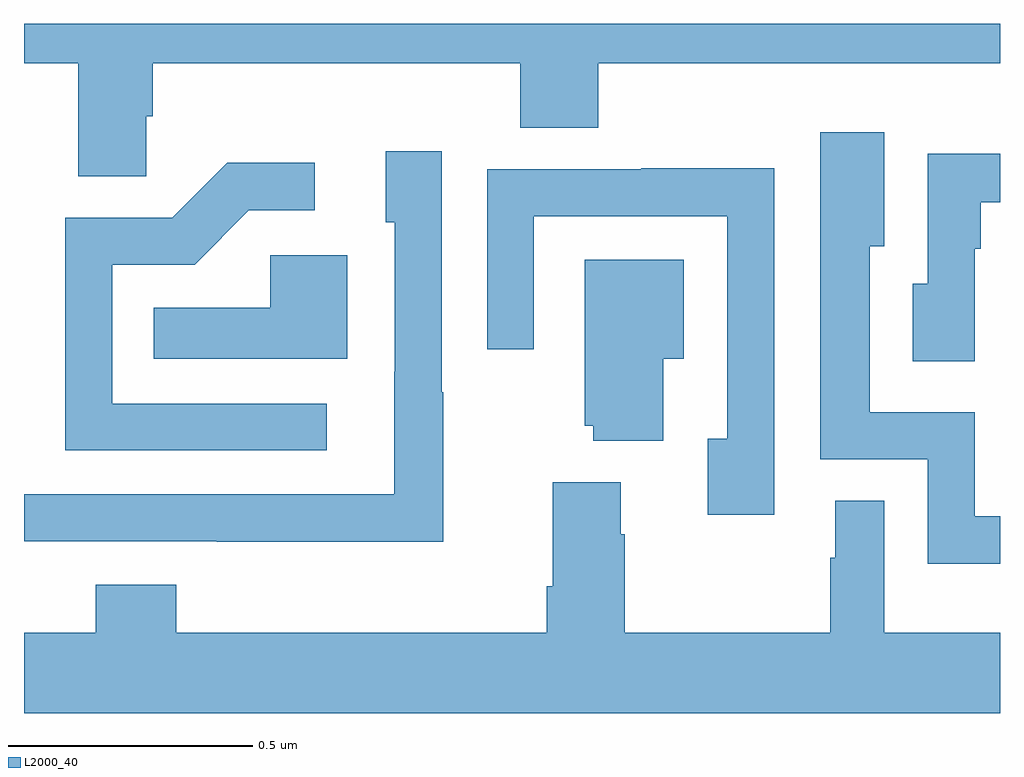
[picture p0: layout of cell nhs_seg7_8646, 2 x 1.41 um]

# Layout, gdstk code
import gdstk
lib = gdstk.Library(unit=1e-6, precision=1e-09)
def P(c, l, *ps):  # polygons
    for p in ps: c.add(gdstk.Polygon(p, *l))
L2000_40 = (2000, 40)

nhs_seg7_8646 = lib.new_cell('nhs_seg7_8646')
P(nhs_seg7_8646, L2000_40, [(227.25,1029.811),(227.264,1029.811),(227.264,1029.92),(228.017,1029.92),(228.017,1029.787),(228.177,1029.787),(228.177,1029.92),(229,1029.92),(229,1030),(227,1030),(227,1029.92),(227.111,1029.92),(227.111,1029.688),(227.25,1029.688)],
  [(229,1028.991),(228.948,1028.991),(228.948,1029.204),(228.733,1029.204),(228.733,1029.545),(228.763,1029.545),(228.763,1029.778),(228.632,1029.778),(228.632,1029.108),(228.852,1029.108),(228.852,1028.894),(229,1028.894)],
  [(227.859,1029.245),(227.856,1029.245),(227.856,1029.739),(227.741,1029.739),(227.741,1029.594),(227.76,1029.594),(227.76,1029.287),(227.759,1029.287),(227.759,1029.036),(227,1029.036),(227,1028.94),(227.395,1028.94),(227.395,1028.939),(227.859,1028.939)],
  [(228.948,1029.539),(228.961,1029.539),(228.961,1029.635),(229,1029.635),(229,1029.734),(228.852,1029.734),(228.852,1029.468),(228.821,1029.468),(228.821,1029.309),(228.948,1029.309)],
  [(227.62,1029.222),(227.181,1029.222),(227.181,1029.507),(227.35,1029.507),(227.461,1029.618),(227.596,1029.618),(227.596,1029.716),(227.417,1029.716),(227.304,1029.603),(227.085,1029.603),(227.085,1029.126),(227.62,1029.126)],
  [(228.537,1029.704),(228.265,1029.704),(228.265,1029.702),(227.949,1029.702),(227.949,1029.333),(228.045,1029.333),(228.045,1029.606),(228.441,1029.606),(228.441,1029.15),(228.401,1029.15),(228.401,1028.994),(228.537,1028.994)],
  [(227.662,1029.526),(227.505,1029.526),(227.505,1029.418),(227.266,1029.418),(227.266,1029.314),(227.662,1029.314)],
  [(228.31,1029.314),(228.352,1029.314),(228.352,1029.517),(228.149,1029.517),(228.149,1029.177),(228.167,1029.177),(228.167,1029.146),(228.31,1029.146)],
  [(229,1028.752),(228.763,1028.752),(228.763,1029.023),(228.662,1029.023),(228.662,1028.906),(228.652,1028.906),(228.652,1028.752),(228.231,1028.752),(228.231,1028.954),(228.223,1028.954),(228.223,1029.061),(228.083,1029.061),(228.083,1028.848),(228.071,1028.848),(228.071,1028.752),(227.312,1028.752),(227.312,1028.851),(227.147,1028.851),(227.147,1028.752),(227,1028.752),(227,1028.588),(229,1028.588)])

lib.write_gds('nhs_seg7_8646.gds')
